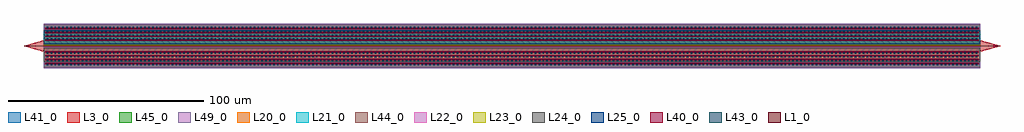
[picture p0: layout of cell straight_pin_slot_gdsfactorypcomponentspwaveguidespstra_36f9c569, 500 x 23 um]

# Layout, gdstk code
from math import pi, radians
import gdstk
lib = gdstk.Library(unit=1e-6, precision=1e-09)
def R(c, l, rs):  # rectangles x0, y0, x1, y1
    for r in rs: c.add(gdstk.rectangle(r[:2], r[2:], *l))
def P(c, l, *ps):  # polygons
    for p in ps: c.add(gdstk.Polygon(p, *l))
L1_0 = (1, 0)
L3_0 = (3, 0)
L20_0 = (20, 0)
L21_0 = (21, 0)
L22_0 = (22, 0)
L23_0 = (23, 0)
L24_0 = (24, 0)
L25_0 = (25, 0)
L40_0 = (40, 0)
L41_0 = (41, 0)
L43_0 = (43, 0)
L44_0 = (44, 0)
L45_0 = (45, 0)
L49_0 = (49, 0)

straight_gdsfactorypcomp = lib.new_cell('straight_gdsfactorypcomponentspwaveguidespstraight_L480_9b7ec76b')
R(straight_gdsfactorypcomp, L1_0, [(0,-0.25,480,0.25)])
R(straight_gdsfactorypcomp, L3_0, [(0,-3.5,480,3.5)])
R(straight_gdsfactorypcomp, L20_0, [(0,-8,480,0)])
R(straight_gdsfactorypcomp, L21_0, [(0,0,480,8)])
R(straight_gdsfactorypcomp, L22_0, [(0,-8,480,-0.5)])
R(straight_gdsfactorypcomp, L23_0, [(0,0.5,480,8)])
R(straight_gdsfactorypcomp, L24_0, [(0,-8,480,-1)])
R(straight_gdsfactorypcomp, L25_0, [(0,1,480,8)])

taper_strip_to_ridge_gds = lib.new_cell('taper_strip_to_ridge_gdsfactorypcomponentsptapersptaper_eb2ac5f7')
R(taper_strip_to_ridge_gds, L1_0, [(0,-0.25,10,0.25)])
P(taper_strip_to_ridge_gds, L3_0, [(10,-3),(0,-0.075),(0,0.075),(10,3)])

compass_gdsfactorypcompo = lib.new_cell('compass_gdsfactorypcomponentspshapespcompass_S480_10_LM_6577179f')
R(compass_gdsfactorypcompo, L41_0, [(-240,-5,240,5)])

c_compass_gdsfactorypcompo = lib.new_cell('compass_gdsfactorypcomponentspshapespcompass_S480_10_LM_bf63c414')
R(c_compass_gdsfactorypcompo, L45_0, [(-240,-5,240,5)])

c_compass_gdsfactorypcompo_ = lib.new_cell('compass_gdsfactorypcomponentspshapespcompass_S480_10_LM_9d45dd62')
R(c_compass_gdsfactorypcompo_, L49_0, [(-240,-5,240,5)])

via_gdsfactorypcomponent = lib.new_cell('via_gdsfactorypcomponentspviaspvia_S0p7_0p7_E1_LVIA1_BL_0068d91e')
R(via_gdsfactorypcomponent, L44_0, [(-0.35,-0.35,0.35,0.35)])

c_via_gdsfactorypcomponent = lib.new_cell('via_gdsfactorypcomponentspviaspvia_S0p7_0p7_E1_LVIA2_BL_c51b5ebb')
R(c_via_gdsfactorypcomponent, L43_0, [(-0.35,-0.35,0.35,0.35)])

via_stack_gdsfactorypcom = lib.new_cell('via_stack_gdsfactorypcomponentspviaspvia_stack_S480_10__b0079b0e')
via_stack_gdsfactorypcom.add(gdstk.Reference(compass_gdsfactorypcompo, (0,0)))
via_stack_gdsfactorypcom.add(gdstk.Reference(c_compass_gdsfactorypcompo, (0,0)))
via_stack_gdsfactorypcom.add(gdstk.Reference(c_compass_gdsfactorypcompo_, (0,0)))
r = gdstk.Reference(via_gdsfactorypcomponent, (-238,-3)); r.repetition = gdstk.Repetition(239, 4, v1=(2,0), v2=(0,2)); via_stack_gdsfactorypcom.add(r)
r = gdstk.Reference(c_via_gdsfactorypcomponent, (-238,-3)); r.repetition = gdstk.Repetition(239, 4, v1=(2,0), v2=(0,2)); via_stack_gdsfactorypcom.add(r)

c_compass_gdsfactorypcompo__ = lib.new_cell('compass_gdsfactorypcomponentspshapespcompass_S480_10_LS_703b2ed8')
R(c_compass_gdsfactorypcompo__, L3_0, [(-240,-5,240,5)])

c_compass_gdsfactorypcompo___ = lib.new_cell('compass_gdsfactorypcomponentspshapespcompass_S480_10_LM_fea1a3d5')
R(c_compass_gdsfactorypcompo___, L41_0, [(-240,-5,240,5)])

c_via_gdsfactorypcomponent_ = lib.new_cell('via_gdsfactorypcomponentspviaspvia_S478_0p7000000000000_3429f099')
R(c_via_gdsfactorypcomponent_, L40_0, [(-239,-0.35,239,0.35)])

c_via_gdsfactorypcomponent__ = lib.new_cell('via_gdsfactorypcomponentspviaspvia_S478_0p7000000000000_cdf8dd60')
R(c_via_gdsfactorypcomponent__, L44_0, [(-239,-0.35,239,0.35)])

c_via_stack_gdsfactorypcom = lib.new_cell('via_stack_gdsfactorypcomponentspviaspvia_stack_S480_10__8559fc9a')
c_via_stack_gdsfactorypcom.add(gdstk.Reference(c_compass_gdsfactorypcompo__, (0,0)))
c_via_stack_gdsfactorypcom.add(gdstk.Reference(c_compass_gdsfactorypcompo___, (0,0)))
r = gdstk.Reference(c_via_gdsfactorypcomponent_, (0,-3)); r.repetition = gdstk.Repetition(1, 4, v1=(0,0), v2=(0,2)); c_via_stack_gdsfactorypcom.add(r)
r = gdstk.Reference(c_via_gdsfactorypcomponent__, (0,-3)); r.repetition = gdstk.Repetition(1, 4, v1=(0,0), v2=(0,2)); c_via_stack_gdsfactorypcom.add(r)

straight_pin_slot_gdsfac = lib.new_cell('straight_pin_slot_gdsfactorypcomponentspwaveguidespstra_36f9c569')
straight_pin_slot_gdsfac.add(gdstk.Reference(straight_gdsfactorypcomp, (0,0)))
straight_pin_slot_gdsfac.add(gdstk.Reference(taper_strip_to_ridge_gds, (-10,0)))
straight_pin_slot_gdsfac.add(gdstk.Reference(taper_strip_to_ridge_gds, (490,0), rotation=pi))
straight_pin_slot_gdsfac.add(gdstk.Reference(via_stack_gdsfactorypcom, (240,6.5)))
straight_pin_slot_gdsfac.add(gdstk.Reference(via_stack_gdsfactorypcom, (240,-6.5)))
straight_pin_slot_gdsfac.add(gdstk.Reference(c_via_stack_gdsfactorypcom, (240,6)))
straight_pin_slot_gdsfac.add(gdstk.Reference(c_via_stack_gdsfactorypcom, (240,-6)))

lib.write_gds('straight_pin_slot_gdsfactorypcomponentspwaveguidespstra_36f9c569.gds')
